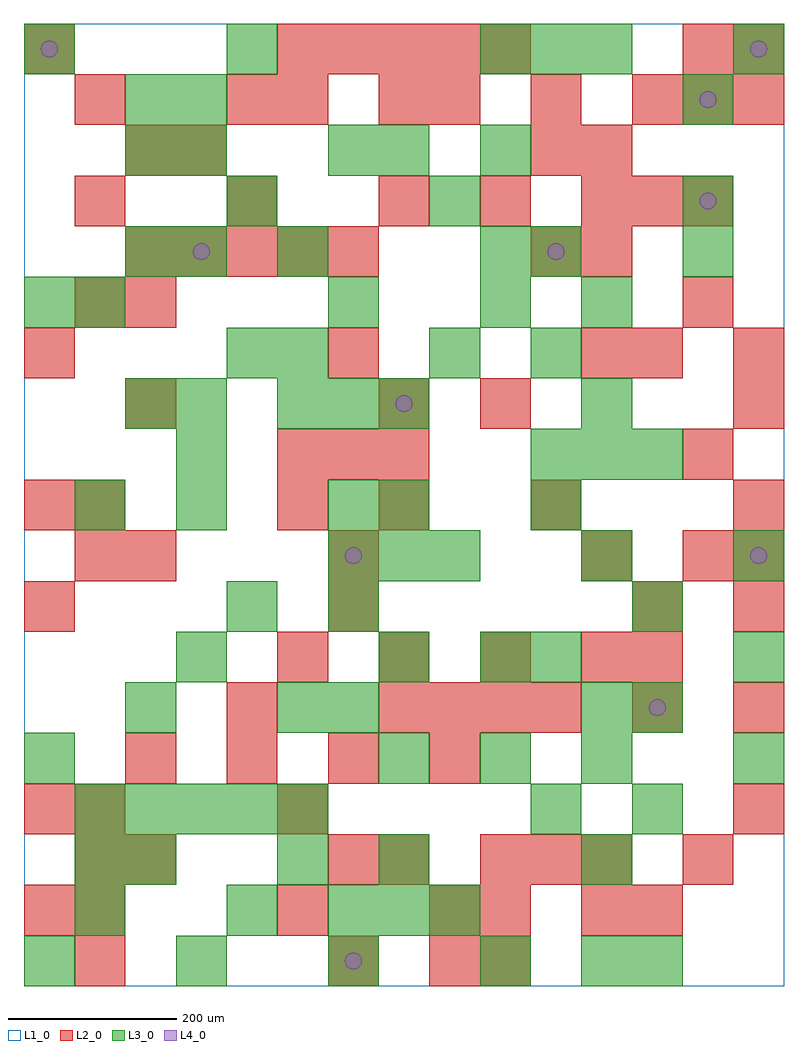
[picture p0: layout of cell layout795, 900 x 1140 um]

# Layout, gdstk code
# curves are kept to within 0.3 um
import gdstk
lib = gdstk.Library(unit=1e-6, precision=1e-09)
def R(c, l, rs):  # rectangles x0, y0, x1, y1
    for r in rs: c.add(gdstk.rectangle(r[:2], r[2:], *l))
def A(c, l, x, y, w, h, nx, ny, dx, dy):  # array of equal rectangles
    R(c, l, [(x+i*dx, y+j*dy, x+i*dx+w, y+j*dy+h) for i in range(nx) for j in range(ny)])
def P(c, l, *ps):  # polygons
    for p in ps: c.add(gdstk.Polygon(p, *l))
L1_0 = (1, 0)
L2_0 = (2, 0)
L3_0 = (3, 0)
L4_0 = (4, 0)

layout795 = lib.new_cell('layout795')
R(layout795, L1_0, [(0,0,900,1140)])
A(layout795, L2_0, 60, 0, 60, 60, 1, 4, 0, 60)
A(layout795, L2_0, 540, 120, 60, 60, 3, 1, 60, 0)
A(layout795, L2_0, 840, 180, 60, 60, 1, 3, 0, 120)
A(layout795, L2_0, 120, 240, 60, 60, 4, 1, 120, 0)
A(layout795, L2_0, 420, 300, 60, 60, 4, 1, 60, 0)
A(layout795, L2_0, 300, 360, 60, 60, 4, 1, 120, 0)
A(layout795, L2_0, 0, 420, 60, 60, 3, 1, 360, 0)
A(layout795, L2_0, 60, 540, 60, 60, 1, 3, 0, 240)
A(layout795, L2_0, 300, 600, 60, 60, 3, 1, 60, 0)
A(layout795, L2_0, 660, 720, 60, 60, 1, 3, 0, 120)
A(layout795, L2_0, 120, 840, 60, 60, 5, 1, 60, 0)
A(layout795, L2_0, 60, 900, 60, 60, 3, 1, 180, 0)
A(layout795, L2_0, 660, 900, 60, 60, 3, 1, 60, 0)
A(layout795, L2_0, 480, 1020, 60, 60, 3, 1, 120, 0)
A(layout795, L2_0, 300, 1080, 60, 60, 5, 1, 60, 0)
R(layout795, L2_0, [(360,0,420,60), (480,0,540,60), (540,0,600,60), (0,60,60,120), (300,60,360,120), (480,60,540,120), (540,60,600,120), (660,60,720,120), (720,60,780,120), (120,120,180,180), (360,120,420,180), (420,120,480,180), (780,120,840,180), (0,180,60,240), (300,180,360,240), (240,300,300,360), (720,300,780,360), (720,360,780,420), (60,480,120,540), (120,480,180,540), (360,480,420,540), (660,480,720,540), (780,480,840,540), (840,480,900,540), (0,540,60,600), (300,540,360,600), (420,540,480,600), (600,540,660,600), (840,540,900,600), (780,600,840,660), (120,660,180,720), (420,660,480,720), (540,660,600,720), (840,660,900,720), (0,720,60,780), (360,720,420,780), (720,720,780,780), (840,720,900,780), (120,780,180,840), (780,780,840,840), (600,840,660,900), (540,900,600,960), (120,960,180,1020), (180,960,240,1020), (600,960,660,1020), (240,1020,300,1080), (300,1020,360,1080), (420,1020,480,1080), (780,1020,840,1080), (840,1020,900,1080), (0,1080,60,1140), (780,1080,840,1140), (840,1080,900,1140)])
A(layout795, L3_0, 0, 0, 60, 60, 4, 1, 180, 0)
A(layout795, L3_0, 360, 60, 60, 60, 3, 2, 60, 420)
A(layout795, L3_0, 660, 120, 60, 60, 1, 4, 0, 180)
A(layout795, L3_0, 60, 180, 60, 60, 5, 1, 60, 0)
A(layout795, L3_0, 600, 180, 60, 60, 1, 4, 0, 180)
A(layout795, L3_0, 720, 180, 60, 60, 1, 3, 0, 120)
A(layout795, L3_0, 420, 240, 60, 60, 3, 1, 120, 0)
A(layout795, L3_0, 840, 240, 60, 60, 1, 3, 0, 120)
A(layout795, L3_0, 360, 300, 60, 60, 1, 3, 0, 120)
A(layout795, L3_0, 180, 540, 60, 60, 1, 3, 0, 60)
A(layout795, L3_0, 600, 600, 60, 60, 3, 1, 60, 0)
A(layout795, L3_0, 300, 660, 60, 60, 3, 1, 60, 0)
A(layout795, L3_0, 240, 720, 60, 60, 1, 3, 0, 180)
A(layout795, L3_0, 540, 1080, 60, 60, 3, 1, 60, 0)
R(layout795, L3_0, [(660,0,720,60), (720,0,780,60), (60,60,120,120), (240,60,300,120), (60,120,120,180), (120,120,180,180), (300,120,360,180), (420,120,480,180), (0,240,60,300), (120,300,180,360), (300,300,360,360), (180,360,240,420), (420,360,480,420), (540,360,600,420), (240,420,300,480), (60,540,120,600), (420,540,480,600), (120,660,180,720), (300,720,360,780), (480,720,540,780), (0,780,60,840), (60,780,120,840), (360,780,420,840), (540,780,600,840), (660,780,720,840), (120,840,180,900), (180,840,240,900), (300,840,360,900), (540,840,600,900), (600,840,660,900), (780,840,840,900), (480,900,540,960), (780,900,840,960), (120,960,180,1020), (180,960,240,1020), (360,960,420,1020), (420,960,480,1020), (540,960,600,1020), (120,1020,180,1080), (180,1020,240,1080), (780,1020,840,1080), (0,1080,60,1140), (840,1080,900,1140)])
P(layout795, L4_0, [(40,1110),(39.239,1113.827),(37.071,1117.071),(33.827,1119.239),(30,1120),(26.173,1119.239),(22.929,1117.071),(20.761,1113.827),(20,1110),(20.761,1106.173),(22.929,1102.929),(26.173,1100.761),(30,1100),(33.827,1100.761),(37.071,1102.929),(39.239,1106.173)],
  [(220,870),(219.239,873.827),(217.071,877.071),(213.827,879.239),(210,880),(206.173,879.239),(202.929,877.071),(200.761,873.827),(200,870),(200.761,866.173),(202.929,862.929),(206.173,860.761),(210,860),(213.827,860.761),(217.071,862.929),(219.239,866.173)],
  [(400,30),(399.239,33.827),(397.071,37.071),(393.827,39.239),(390,40),(386.173,39.239),(382.929,37.071),(380.761,33.827),(380,30),(380.761,26.173),(382.929,22.929),(386.173,20.761),(390,20),(393.827,20.761),(397.071,22.929),(399.239,26.173)],
  [(400,510),(399.239,513.827),(397.071,517.071),(393.827,519.239),(390,520),(386.173,519.239),(382.929,517.071),(380.761,513.827),(380,510),(380.761,506.173),(382.929,502.929),(386.173,500.761),(390,500),(393.827,500.761),(397.071,502.929),(399.239,506.173)],
  [(460,690),(459.239,693.827),(457.071,697.071),(453.827,699.239),(450,700),(446.173,699.239),(442.929,697.071),(440.761,693.827),(440,690),(440.761,686.173),(442.929,682.929),(446.173,680.761),(450,680),(453.827,680.761),(457.071,682.929),(459.239,686.173)],
  [(640,870),(639.239,873.827),(637.071,877.071),(633.827,879.239),(630,880),(626.173,879.239),(622.929,877.071),(620.761,873.827),(620,870),(620.761,866.173),(622.929,862.929),(626.173,860.761),(630,860),(633.827,860.761),(637.071,862.929),(639.239,866.173)],
  [(760,330),(759.239,333.827),(757.071,337.071),(753.827,339.239),(750,340),(746.173,339.239),(742.929,337.071),(740.761,333.827),(740,330),(740.761,326.173),(742.929,322.929),(746.173,320.761),(750,320),(753.827,320.761),(757.071,322.929),(759.239,326.173)],
  [(820,930),(819.239,933.827),(817.071,937.071),(813.827,939.239),(810,940),(806.173,939.239),(802.929,937.071),(800.761,933.827),(800,930),(800.761,926.173),(802.929,922.929),(806.173,920.761),(810,920),(813.827,920.761),(817.071,922.929),(819.239,926.173)],
  [(820,1050),(819.239,1053.827),(817.071,1057.071),(813.827,1059.239),(810,1060),(806.173,1059.239),(802.929,1057.071),(800.761,1053.827),(800,1050),(800.761,1046.173),(802.929,1042.929),(806.173,1040.761),(810,1040),(813.827,1040.761),(817.071,1042.929),(819.239,1046.173)],
  [(880,510),(879.239,513.827),(877.071,517.071),(873.827,519.239),(870,520),(866.173,519.239),(862.929,517.071),(860.761,513.827),(860,510),(860.761,506.173),(862.929,502.929),(866.173,500.761),(870,500),(873.827,500.761),(877.071,502.929),(879.239,506.173)],
  [(880,1110),(879.239,1113.827),(877.071,1117.071),(873.827,1119.239),(870,1120),(866.173,1119.239),(862.929,1117.071),(860.761,1113.827),(860,1110),(860.761,1106.173),(862.929,1102.929),(866.173,1100.761),(870,1100),(873.827,1100.761),(877.071,1102.929),(879.239,1106.173)])

lib.write_gds('layout795.gds')
